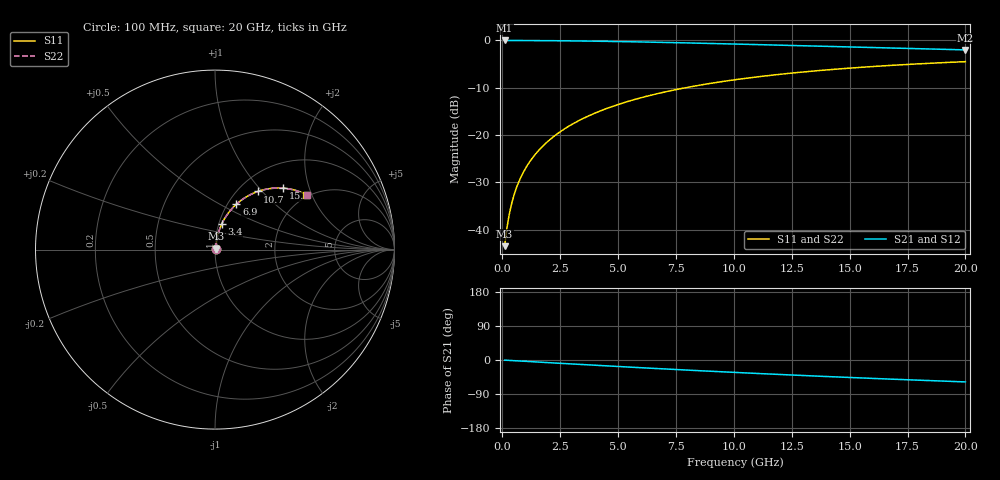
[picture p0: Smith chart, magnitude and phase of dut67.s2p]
! Touchstone file exported from HFSS 2026.1.0
!  File:  C:/ffzhzh/LocalFiles/Ansys_Project_Files/temp_train_TMRDL_67_1782881132_43084.aedt
!  Generated:  12:46:58 PM Jul  1, 2026
!  Design:  TMRDL
!  Project:  temp_train_TMRDL_67_1782881132_43084
! Variables:
!  h_bsmrdl = 2um
!  h_ox = 20um
!  h_rdl = 5um
!  h_sub = 80um
!  h_tmrdl = 3.7um
!  h_tsv = 80um
!  h_via = 3um
!  l_bsmrdl = 300um
!  l_sub = 1223.84um
!  l_tmrdl = 823.84um
!  m_sub = 200um
!  pitch = 59.92um
!  r_tsv = 6um
!  s_tmrdl = 10um
!  w_bsmrdl = 18um
!  w_sub = 500um
!  w_tmrdl = 16.35um
!  x_tsv_center1 = 832.015um
!  x_tsv_center2 = 1150.015um
!  x_tsv_center3 = 1990.205um
!  x_tsv_center4 = 2308.205um
!  x_tsv_center5 = 3148.395um
!  x_tsv_center6 = 3466.395um
# GHz S MA R 50.000000
! Terminal data exported
! Port[1] = TM_RDL1_1_T1
! Port[2] = TM_RDL1_1_T2
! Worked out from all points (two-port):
!   200 points, 100 MHz to 20 GHz, reference 50 ohm
!   highest |S21| = -0.04 dB at 100 MHz (marker M1); lowest = -2.0 dB at 20 GHz (marker M2)
!   |S21| within 3 dB of the highest: start of sweep to end of sweep
!   lowest |S11| = -43.5 dB at 100 MHz (marker M3), VSWR 1.01, Z = 50.5 + j0.458 ohm
!   |S11| at or under -10 dB: start of sweep to 7.94 GHz
!   |S22| runs from -43.5 to -4.5 dB; largest |S21 - S12| = 3.2e-15
!   S11 on the Smith chart (normalised r, x): 100 MHz: 1.01, +0.01; 3.4 GHz: 1.03, +0.30; 6.9 GHz: 1.10, +0.60; 10.7 GHz: 1.22, +0.94; 15.1 GHz: 1.47, +1.36; 20 GHz: 1.93, +1.83
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0.1  0.006697 42.7  0.9951 -0.4  0.9951 -0.4  0.006697 42.7
! Gamma 0 0 0 0
! Port Impedance 50 0 50 0
0.2  0.01038 60.4  0.9949 -0.7  0.9949 -0.7  0.01038 60.4
0.3  0.01448 68.0  0.9947 -1.1  0.9947 -1.1  0.01448 68.0
0.4  0.01869 72.1  0.9945 -1.4  0.9945 -1.4  0.01869 72.1
0.5  0.02293 74.5  0.9943 -1.8  0.9943 -1.8  0.02293 74.5
0.7  0.03144 77.2  0.9939 -2.5  0.9939 -2.5  0.03144 77.2
1  0.04425 78.9  0.9932 -3.5  0.9932 -3.5  0.04425 78.9
1.4  0.06137 79.5  0.9921 -4.9  0.9921 -4.9  0.06137 79.5
2  0.08697 78.8  0.9899 -7.0  0.9899 -7.0  0.08697 78.8
2.6  0.1123 77.5  0.987 -9.1  0.987 -9.1  0.1123 77.5
3.4  0.1456 75.4  0.9822 -11.8  0.9822 -11.8  0.1456 75.4
3.5  0.1497 75.1  0.9815 -12.1  0.9815 -12.1  0.1497 75.1
5  0.2096 70.6  0.9694 -17.2  0.9694 -17.2  0.2096 70.5
6.8  0.2767 65.0  0.9512 -23.0  0.9512 -23.0  0.2767 65.0
6.9  0.2803 64.7  0.9501 -23.3  0.9501 -23.3  0.2803 64.7
8.4  0.3315 60.2  0.9327 -27.9  0.9327 -27.9  0.3315 60.2
10.1  0.3845 55.4  0.9115 -33.0  0.9115 -33.0  0.3845 55.3
10.7  0.4019 53.7  0.9038 -34.7  0.9038 -34.7  0.4019 53.6
13.4  0.4722 46.5  0.8688 -42.0  0.8688 -42.0  0.4722 46.4
15.1  0.51 42.2  0.8472 -46.4  0.8472 -46.4  0.51 42.1
16.7  0.5413 38.4  0.8278 -50.3  0.8278 -50.3  0.5413 38.3
20  0.5943 31.1  0.7913 -57.8  0.7913 -57.8  0.5943 30.9
